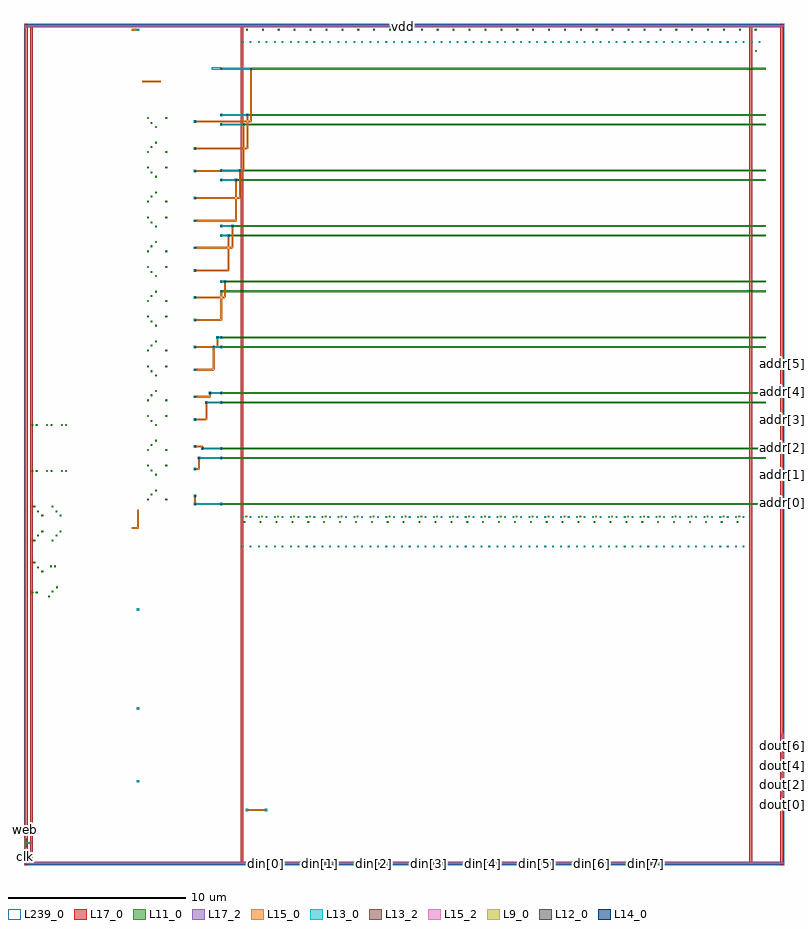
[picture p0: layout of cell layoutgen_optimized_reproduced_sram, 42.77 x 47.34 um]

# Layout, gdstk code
import gdstk
lib = gdstk.Library(unit=1e-6, precision=5e-10)
def R(c, l, rs):  # rectangles x0, y0, x1, y1
    for r in rs: c.add(gdstk.rectangle(r[:2], r[2:], *l))
def A(c, l, x, y, w, h, nx, ny, dx, dy):  # array of equal rectangles
    R(c, l, [(x+i*dx, y+j*dy, x+i*dx+w, y+j*dy+h) for i in range(nx) for j in range(ny)])
L9_0 = (9, 0)
L11_0 = (11, 0)
L12_0 = (12, 0)
L13_0 = (13, 0)
L13_2 = (13, 2)
L14_0 = (14, 0)
L15_0 = (15, 0)
L15_2 = (15, 2)
L17_0 = (17, 0)
L17_2 = (17, 2)
L239_0 = (239, 0)

layoutgen_optimized_repr = lib.new_cell('layoutgen_optimized_reproduced_sram')
A(layoutgen_optimized_repr, L9_0, 12.465, 19.575, 0.09, 0.09, 32, 1, 0.895, 0)
A(layoutgen_optimized_repr, L11_0, 12.3725, 19.2675, 0.09, 0.09, 32, 1, 0.895, 0)
A(layoutgen_optimized_repr, L11_0, 12.5, 46.97, 0.09, 0.09, 33, 1, 0.895, 0)
R(layoutgen_optimized_repr, L11_0, [(1.3525,15.08,1.4425,15.17), (0.4375,15.29,0.5275,15.38), (0.67,15.29,0.76,15.38), (1.5675,15.36,1.6575,15.45), (1.805,15.5925,1.895,15.6825), (0.9825,16.475,1.0725,16.565), (0.745,16.7075,0.835,16.7975), (1.475,16.7775,1.565,16.8675), (1.7075,16.7775,1.7975,16.8675), (0.53,16.9875,0.62,17.0775), (0.53,18.2275,0.62,18.3175), (1.5675,18.2275,1.6575,18.3175), (0.745,18.5075,0.835,18.5975), (1.7825,18.5075,1.8725,18.5975), (0.9825,18.74,1.0725,18.83), (2.02,18.74,2.11,18.83), (0.9825,19.6225,1.0725,19.7125), (2.02,19.6225,2.11,19.7125), (0.745,19.855,0.835,19.945), (1.7825,19.855,1.8725,19.945), (0.53,20.135,0.62,20.225), (1.5675,20.135,1.6575,20.225), (11.0325,20.2475,11.1675,20.3825), (11.1,20.27,41.74,20.36), (6.925,20.53,7.015,20.62), (7.9625,20.53,8.0525,20.62), (9.5625,20.7025,9.6975,20.8375), (9.585,20.725,9.675,20.815), (7.14,20.81,7.23,20.9), (7.3775,21.0425,7.4675,21.1325), (7.3775,21.925,7.4675,22.015), (0.4375,22.1375,0.5275,22.2275), (0.67,22.1375,0.76,22.2275), (1.26,22.1375,1.35,22.2275), (1.4925,22.1375,1.5825,22.2275), (2.0825,22.1375,2.1725,22.2275), (2.315,22.1375,2.405,22.2275), (7.14,22.1575,7.23,22.2475), (9.5625,22.22,9.6975,22.355), (9.585,22.2425,9.675,22.3325), (6.925,22.4375,7.015,22.5275), (7.9625,22.4375,8.0525,22.5275), (11.0325,22.8425,11.1675,22.9775), (11.1,22.865,41.74,22.955), (6.925,23.325,7.015,23.415), (7.9625,23.325,8.0525,23.415), (11.0325,23.3775,11.1675,23.5125), (11.1,23.4,41.74,23.49), (9.5625,23.4975,9.6975,23.6325), (9.585,23.52,9.675,23.61), (7.14,23.605,7.23,23.695), (7.3775,23.8375,7.4675,23.9275), (7.3775,24.72,7.4675,24.81), (0.4375,24.73,0.5275,24.82), (0.67,24.73,0.76,24.82), (1.26,24.73,1.35,24.82), (1.4925,24.73,1.5825,24.82), (2.0825,24.73,2.1725,24.82), (2.315,24.73,2.405,24.82), (7.14,24.9525,7.23,25.0425), (9.5625,25.015,9.6975,25.15), (9.585,25.0375,9.675,25.1275), (6.925,25.2325,7.015,25.3225), (7.9625,25.2325,8.0525,25.3225), (11.0325,25.9725,11.1675,26.1075), (11.1,25.995,41.74,26.085), (6.925,26.12,7.015,26.21), (7.9625,26.12,8.0525,26.21), (9.5625,26.2925,9.6975,26.4275), (9.585,26.315,9.675,26.405), (7.14,26.4,7.23,26.49), (11.0325,26.5075,11.1675,26.6425), (11.1,26.53,41.74,26.62), (7.3775,26.6325,7.4675,26.7225), (7.3775,27.515,7.4675,27.605), (7.14,27.7475,7.23,27.8375), (9.5625,27.81,9.6975,27.945), (9.585,27.8325,9.675,27.9225), (6.925,28.0275,7.015,28.1175), (7.9625,28.0275,8.0525,28.1175), (6.925,28.915,7.015,29.005), (7.9625,28.915,8.0525,29.005), (9.5625,29.0875,9.6975,29.2225), (11.0325,29.1025,11.1675,29.2375), (9.585,29.11,9.675,29.2), (11.1,29.125,41.74,29.215), (7.14,29.195,7.23,29.285), (7.3775,29.4275,7.4675,29.5175), (11.0325,29.6375,11.1675,29.7725), (11.1,29.66,41.74,29.75), (7.3775,30.31,7.4675,30.4), (7.14,30.5425,7.23,30.6325), (9.5625,30.605,9.6975,30.74), (9.585,30.6275,9.675,30.7175), (6.925,30.8225,7.015,30.9125), (7.9625,30.8225,8.0525,30.9125), (6.925,31.71,7.015,31.8), (7.9625,31.71,8.0525,31.8), (9.5625,31.8825,9.6975,32.0175), (9.585,31.905,9.675,31.995), (7.14,31.99,7.23,32.08), (7.3775,32.2225,7.4675,32.3125), (11.0325,32.2325,11.1675,32.3675), (11.1,32.255,41.74,32.345), (11.0325,32.7675,11.1675,32.9025), (11.1,32.79,41.74,32.88), (7.3775,33.105,7.4675,33.195), (7.14,33.3375,7.23,33.4275), (9.5625,33.4,9.6975,33.535), (9.585,33.4225,9.675,33.5125), (6.925,33.6175,7.015,33.7075), (7.9625,33.6175,8.0525,33.7075), (6.925,34.505,7.015,34.595), (7.9625,34.505,8.0525,34.595), (9.5625,34.6775,9.6975,34.8125), (9.585,34.7,9.675,34.79), (7.14,34.785,7.23,34.875), (7.3775,35.0175,7.4675,35.1075), (11.0325,35.3625,11.1675,35.4975), (11.1,35.385,41.74,35.475), (11.0325,35.8975,11.1675,36.0325), (7.3775,35.9,7.4675,35.99), (11.1,35.92,41.74,36.01), (7.14,36.1325,7.23,36.2225), (9.5625,36.195,9.6975,36.33), (9.585,36.2175,9.675,36.3075), (6.925,36.4125,7.015,36.5025), (7.9625,36.4125,8.0525,36.5025), (6.925,37.3,7.015,37.39), (7.9625,37.3,8.0525,37.39), (9.5625,37.4725,9.6975,37.6075), (9.585,37.495,9.675,37.585), (7.14,37.58,7.23,37.67), (7.3775,37.8125,7.4675,37.9025), (11.0325,38.4925,11.1675,38.6275), (11.1,38.515,41.74,38.605), (7.3775,38.695,7.4675,38.785), (7.14,38.9275,7.23,39.0175), (9.5625,38.99,9.6975,39.125), (9.585,39.0125,9.675,39.1025), (11.0325,39.0275,11.1675,39.1625), (11.1,39.05,41.74,39.14), (6.925,39.2075,7.015,39.2975), (7.9625,39.2075,8.0525,39.2975), (6.925,40.095,7.015,40.185), (7.9625,40.095,8.0525,40.185), (9.5625,40.2675,9.6975,40.4025), (9.585,40.29,9.675,40.38), (7.14,40.375,7.23,40.465), (7.3775,40.6075,7.4675,40.6975), (7.3775,41.49,7.4675,41.58), (11.0325,41.6225,11.1675,41.7575), (11.1,41.645,41.74,41.735), (7.14,41.7225,7.23,41.8125), (9.5625,41.785,9.6975,41.92), (9.585,41.8075,9.675,41.8975), (6.925,42.0025,7.015,42.0925), (7.9625,42.0025,8.0525,42.0925), (11.0325,42.1575,11.1675,42.2925), (11.1,42.18,41.74,42.27), (11.0325,44.7525,11.1675,44.8875), (11.1,44.775,41.74,44.865), (41.16,45.7725,41.25,45.8625)])
R(layoutgen_optimized_repr, L12_0, [(11.0675,20.2825,11.1325,20.3475), (9.5975,20.7375,9.6625,20.8025), (9.5975,22.255,9.6625,22.32), (11.0675,22.8775,11.1325,22.9425), (11.0675,23.4125,11.1325,23.4775), (9.5975,23.5325,9.6625,23.5975), (9.5975,25.05,9.6625,25.115), (11.0675,26.0075,11.1325,26.0725), (9.5975,26.3275,9.6625,26.3925), (11.0675,26.5425,11.1325,26.6075), (9.5975,27.845,9.6625,27.91), (9.5975,29.1225,9.6625,29.1875), (11.0675,29.1375,11.1325,29.2025), (11.0675,29.6725,11.1325,29.7375), (9.5975,30.64,9.6625,30.705), (9.5975,31.9175,9.6625,31.9825), (11.0675,32.2675,11.1325,32.3325), (11.0675,32.8025,11.1325,32.8675), (9.5975,33.435,9.6625,33.5), (9.5975,34.7125,9.6625,34.7775), (11.0675,35.3975,11.1325,35.4625), (11.0675,35.9325,11.1325,35.9975), (9.5975,36.23,9.6625,36.295), (9.5975,37.5075,9.6625,37.5725), (11.0675,38.5275,11.1325,38.5925), (9.5975,39.025,9.6625,39.09), (11.0675,39.0625,11.1325,39.1275), (9.5975,40.3025,9.6625,40.3675), (11.0675,41.6575,11.1325,41.7225), (9.5975,41.82,9.6625,41.885), (11.0675,42.1925,11.1325,42.2575), (11.0675,44.7875,11.1325,44.8525)])
A(layoutgen_optimized_repr, L13_0, 13.37, 0, 0.5, 0.16, 8, 1, 3.06, 0)
A(layoutgen_optimized_repr, L13_0, 0, 0.2425, 0.16, 0.5, 1, 3, 0, 0.75)
A(layoutgen_optimized_repr, L13_0, 0.16, 0.4575, 0.1825, 0.07, 1, 3, 0, 0.75)
R(layoutgen_optimized_repr, L13_0, [(12.475,3.04,12.61,3.175), (13.5525,3.04,13.6875,3.175), (6.345,4.6525,6.48,4.7875), (6.345,8.7575,6.48,8.8925), (6.345,14.325,6.48,14.46), (12.2875,17.8975,12.3775,17.9875), (12.7125,17.8975,12.8025,17.9875), (13.1825,17.8975,13.2725,17.9875), (13.6075,17.8975,13.6975,17.9875), (14.0775,17.8975,14.1675,17.9875), (14.5025,17.8975,14.5925,17.9875), (14.9725,17.8975,15.0625,17.9875), (15.3975,17.8975,15.4875,17.9875), (15.8675,17.8975,15.9575,17.9875), (16.2925,17.8975,16.3825,17.9875), (16.7625,17.8975,16.8525,17.9875), (17.1875,17.8975,17.2775,17.9875), (17.6575,17.8975,17.7475,17.9875), (18.0825,17.8975,18.1725,17.9875), (18.5525,17.8975,18.6425,17.9875), (18.9775,17.8975,19.0675,17.9875), (19.4475,17.8975,19.5375,17.9875), (19.8725,17.8975,19.9625,17.9875), (20.3425,17.8975,20.4325,17.9875), (20.7675,17.8975,20.8575,17.9875), (21.2375,17.8975,21.3275,17.9875), (21.6625,17.8975,21.7525,17.9875), (22.1325,17.8975,22.2225,17.9875), (22.5575,17.8975,22.6475,17.9875), (23.0275,17.8975,23.1175,17.9875), (23.4525,17.8975,23.5425,17.9875), (23.9225,17.8975,24.0125,17.9875), (24.3475,17.8975,24.4375,17.9875), (24.8175,17.8975,24.9075,17.9875), (25.2425,17.8975,25.3325,17.9875), (25.7125,17.8975,25.8025,17.9875), (26.1375,17.8975,26.2275,17.9875), (26.6075,17.8975,26.6975,17.9875), (27.0325,17.8975,27.1225,17.9875), (27.5025,17.8975,27.5925,17.9875), (27.9275,17.8975,28.0175,17.9875), (28.3975,17.8975,28.4875,17.9875), (28.8225,17.8975,28.9125,17.9875), (29.2925,17.8975,29.3825,17.9875), (29.7175,17.8975,29.8075,17.9875), (30.1875,17.8975,30.2775,17.9875), (30.6125,17.8975,30.7025,17.9875), (31.0825,17.8975,31.1725,17.9875), (31.5075,17.8975,31.5975,17.9875), (31.9775,17.8975,32.0675,17.9875), (32.4025,17.8975,32.4925,17.9875), (32.8725,17.8975,32.9625,17.9875), (33.2975,17.8975,33.3875,17.9875), (33.7675,17.8975,33.8575,17.9875), (34.1925,17.8975,34.2825,17.9875), (34.6625,17.8975,34.7525,17.9875), (35.0875,17.8975,35.1775,17.9875), (35.5575,17.8975,35.6475,17.9875), (35.9825,17.8975,36.0725,17.9875), (36.4525,17.8975,36.5425,17.9875), (36.8775,17.8975,36.9675,17.9875), (37.3475,17.8975,37.4375,17.9875), (37.7725,17.8975,37.8625,17.9875), (38.2425,17.8975,38.3325,17.9875), (38.6675,17.8975,38.7575,17.9875), (39.1375,17.8975,39.2275,17.9875), (39.5625,17.8975,39.6525,17.9875), (40.0325,17.8975,40.1225,17.9875), (40.4575,17.8975,40.5475,17.9875), (12.2875,19.5575,12.3775,19.6475), (12.7125,19.5575,12.8025,19.6475), (13.1825,19.5575,13.2725,19.6475), (13.6075,19.5575,13.6975,19.6475), (14.0775,19.5575,14.1675,19.6475), (14.5025,19.5575,14.5925,19.6475), (14.9725,19.5575,15.0625,19.6475), (15.3975,19.5575,15.4875,19.6475), (15.8675,19.5575,15.9575,19.6475), (16.2925,19.5575,16.3825,19.6475), (16.7625,19.5575,16.8525,19.6475), (17.1875,19.5575,17.2775,19.6475), (17.6575,19.5575,17.7475,19.6475), (18.0825,19.5575,18.1725,19.6475), (18.5525,19.5575,18.6425,19.6475), (18.9775,19.5575,19.0675,19.6475), (19.4475,19.5575,19.5375,19.6475), (19.8725,19.5575,19.9625,19.6475), (20.3425,19.5575,20.4325,19.6475), (20.7675,19.5575,20.8575,19.6475), (21.2375,19.5575,21.3275,19.6475), (21.6625,19.5575,21.7525,19.6475), (22.1325,19.5575,22.2225,19.6475), (22.5575,19.5575,22.6475,19.6475), (23.0275,19.5575,23.1175,19.6475), (23.4525,19.5575,23.5425,19.6475), (23.9225,19.5575,24.0125,19.6475), (24.3475,19.5575,24.4375,19.6475), (24.8175,19.5575,24.9075,19.6475), (25.2425,19.5575,25.3325,19.6475), (25.7125,19.5575,25.8025,19.6475), (26.1375,19.5575,26.2275,19.6475), (26.6075,19.5575,26.6975,19.6475), (27.0325,19.5575,27.1225,19.6475), (27.5025,19.5575,27.5925,19.6475), (27.9275,19.5575,28.0175,19.6475), (28.3975,19.5575,28.4875,19.6475), (28.8225,19.5575,28.9125,19.6475), (29.2925,19.5575,29.3825,19.6475), (29.7175,19.5575,29.8075,19.6475), (30.1875,19.5575,30.2775,19.6475), (30.6125,19.5575,30.7025,19.6475), (31.0825,19.5575,31.1725,19.6475), (31.5075,19.5575,31.5975,19.6475), (31.9775,19.5575,32.0675,19.6475), (32.4025,19.5575,32.4925,19.6475), (32.8725,19.5575,32.9625,19.6475), (33.2975,19.5575,33.3875,19.6475), (33.7675,19.5575,33.8575,19.6475), (34.1925,19.5575,34.2825,19.6475), (34.6625,19.5575,34.7525,19.6475), (35.0875,19.5575,35.1775,19.6475), (35.5575,19.5575,35.6475,19.6475), (35.9825,19.5575,36.0725,19.6475), (36.4525,19.5575,36.5425,19.6475), (36.8775,19.5575,36.9675,19.6475), (37.3475,19.5575,37.4375,19.6475), (37.7725,19.5575,37.8625,19.6475), (38.2425,19.5575,38.3325,19.6475), (38.6675,19.5575,38.7575,19.6475), (39.1375,19.5575,39.2275,19.6475), (39.5625,19.5575,39.6525,19.6475), (40.0325,19.5575,40.1225,19.6475), (40.4575,19.5575,40.5475,19.6475), (9.5625,20.2475,9.6975,20.3825), (11.0325,20.2475,11.1675,20.3825), (9.63,20.27,11.1,20.36), (9.5625,20.7025,9.6975,20.8375), (9.5625,22.22,9.6975,22.355), (9.7725,22.8425,9.9075,22.9775), (11.0325,22.8425,11.1675,22.9775), (9.84,22.865,11.1,22.955), (9.9825,23.3775,10.1175,23.5125), (11.0325,23.3775,11.1675,23.5125), (10.05,23.4,11.1,23.49), (9.5625,23.4975,9.6975,23.6325), (9.5625,25.015,9.6975,25.15), (10.1925,25.9725,10.3275,26.1075), (11.0325,25.9725,11.1675,26.1075), (10.26,25.995,11.1,26.085), (9.5625,26.2925,9.6975,26.4275), (10.4025,26.5075,10.5375,26.6425), (11.0325,26.5075,11.1675,26.6425), (10.47,26.53,11.1,26.62), (9.5625,27.81,9.6975,27.945), (9.5625,29.0875,9.6975,29.2225), (10.6125,29.1025,10.7475,29.2375), (11.0325,29.1025,11.1675,29.2375), (10.68,29.125,11.1,29.215), (10.8225,29.6375,10.9575,29.7725), (11.0325,29.6375,11.1675,29.7725), (10.89,29.66,11.1,29.75), (9.5625,30.605,9.6975,30.74), (9.5625,31.8825,9.6975,32.0175), (11.0325,32.2325,11.1675,32.3675), (11.0325,32.7675,11.1675,32.9025), (11.2425,32.7675,11.3775,32.9025), (11.1,32.79,11.31,32.88), (9.5625,33.4,9.6975,33.535), (9.5625,34.6775,9.6975,34.8125), (11.0325,35.3625,11.1675,35.4975), (11.4525,35.3625,11.5875,35.4975), (11.1,35.385,11.52,35.475), (11.0325,35.8975,11.1675,36.0325), (11.6625,35.8975,11.7975,36.0325), (11.1,35.92,11.73,36.01), (9.5625,36.195,9.6975,36.33), (9.5625,37.4725,9.6975,37.6075), (11.0325,38.4925,11.1675,38.6275), (11.8725,38.4925,12.0075,38.6275), (11.1,38.515,11.94,38.605), (9.5625,38.99,9.6975,39.125), (11.0325,39.0275,11.1675,39.1625), (12.0825,39.0275,12.2175,39.1625), (11.1,39.05,12.15,39.14), (9.5625,40.2675,9.6975,40.4025), (11.0325,41.6225,11.1675,41.7575), (12.2925,41.6225,12.4275,41.7575), (11.1,41.645,12.36,41.735), (9.5625,41.785,9.6975,41.92), (11.0325,42.1575,11.1675,42.2925), (12.5025,42.1575,12.6375,42.2925), (11.1,42.18,12.57,42.27), (10.56,44.75,11.1,44.89), (11.0325,44.7525,11.1675,44.8875), (12.7125,44.7525,12.8475,44.8875), (11.1,44.775,12.78,44.865), (12.2875,46.2875,12.3775,46.3775), (12.7125,46.2875,12.8025,46.3775), (13.1825,46.2875,13.2725,46.3775), (13.6075,46.2875,13.6975,46.3775), (14.0775,46.2875,14.1675,46.3775), (14.5025,46.2875,14.5925,46.3775), (14.9725,46.2875,15.0625,46.3775), (15.3975,46.2875,15.4875,46.3775), (15.8675,46.2875,15.9575,46.3775), (16.2925,46.2875,16.3825,46.3775), (16.7625,46.2875,16.8525,46.3775), (17.1875,46.2875,17.2775,46.3775), (17.6575,46.2875,17.7475,46.3775), (18.0825,46.2875,18.1725,46.3775), (18.5525,46.2875,18.6425,46.3775), (18.9775,46.2875,19.0675,46.3775), (19.4475,46.2875,19.5375,46.3775), (19.8725,46.2875,19.9625,46.3775), (20.3425,46.2875,20.4325,46.3775), (20.7675,46.2875,20.8575,46.3775), (21.2375,46.2875,21.3275,46.3775), (21.6625,46.2875,21.7525,46.3775), (22.1325,46.2875,22.2225,46.3775), (22.5575,46.2875,22.6475,46.3775), (23.0275,46.2875,23.1175,46.3775), (23.4525,46.2875,23.5425,46.3775), (23.9225,46.2875,24.0125,46.3775), (24.3475,46.2875,24.4375,46.3775), (24.8175,46.2875,24.9075,46.3775), (25.2425,46.2875,25.3325,46.3775), (25.7125,46.2875,25.8025,46.3775), (26.1375,46.2875,26.2275,46.3775), (26.6075,46.2875,26.6975,46.3775), (27.0325,46.2875,27.1225,46.3775), (27.5025,46.2875,27.5925,46.3775), (27.9275,46.2875,28.0175,46.3775), (28.3975,46.2875,28.4875,46.3775), (28.8225,46.2875,28.9125,46.3775), (29.2925,46.2875,29.3825,46.3775), (29.7175,46.2875,29.8075,46.3775), (30.1875,46.2875,30.2775,46.3775), (30.6125,46.2875,30.7025,46.3775), (31.0825,46.2875,31.1725,46.3775), (31.5075,46.2875,31.5975,46.3775), (31.9775,46.2875,32.0675,46.3775), (32.4025,46.2875,32.4925,46.3775), (32.8725,46.2875,32.9625,46.3775), (33.2975,46.2875,33.3875,46.3775), (33.7675,46.2875,33.8575,46.3775), (34.1925,46.2875,34.2825,46.3775), (34.6625,46.2875,34.7525,46.3775), (35.0875,46.2875,35.1775,46.3775), (35.5575,46.2875,35.6475,46.3775), (35.9825,46.2875,36.0725,46.3775), (36.4525,46.2875,36.5425,46.3775), (36.8775,46.2875,36.9675,46.3775), (37.3475,46.2875,37.4375,46.3775), (37.7725,46.2875,37.8625,46.3775), (38.2425,46.2875,38.3325,46.3775), (38.6675,46.2875,38.7575,46.3775), (39.1375,46.2875,39.2275,46.3775), (39.5625,46.2875,39.6525,46.3775), (40.0325,46.2875,40.1225,46.3775), (40.4575,46.2875,40.5475,46.3775), (40.9275,46.2875,41.0175,46.3775), (41.3525,46.2875,41.4425,46.3775), (6.345,46.9475,6.48,47.0825)])
A(layoutgen_optimized_repr, L13_2, 13.37, 0, 0.5, 0.16, 8, 1, 3.06, 0)
A(layoutgen_optimized_repr, L13_2, 0, 0.2425, 0.16, 0.5, 1, 3, 0, 0.75)
R(layoutgen_optimized_repr, L14_0, [(9.5975,20.2825,9.6625,20.3475), (9.5975,20.7375,9.6625,20.8025), (9.5975,22.255,9.6625,22.32), (9.8075,22.8775,9.8725,22.9425), (10.0175,23.4125,10.0825,23.4775), (9.5975,23.5325,9.6625,23.5975), (9.5975,25.05,9.6625,25.115), (10.2275,26.0075,10.2925,26.0725), (9.5975,26.3275,9.6625,26.3925), (10.4375,26.5425,10.5025,26.6075), (9.5975,27.845,9.6625,27.91), (9.5975,29.1225,9.6625,29.1875), (10.6475,29.1375,10.7125,29.2025), (10.8575,29.6725,10.9225,29.7375), (9.5975,30.64,9.6625,30.705), (9.5975,31.9175,9.6625,31.9825), (11.0675,32.2675,11.1325,32.3325), (11.2775,32.8025,11.3425,32.8675), (9.5975,33.435,9.6625,33.5), (9.5975,34.7125,9.6625,34.7775), (11.4875,35.3975,11.5525,35.4625), (11.6975,35.9325,11.7625,35.9975), (9.5975,36.23,9.6625,36.295), (9.5975,37.5075,9.6625,37.5725), (11.9075,38.5275,11.9725,38.5925), (9.5975,39.025,9.6625,39.09), (12.1175,39.0625,12.1825,39.1275), (9.5975,40.3025,9.6625,40.3675), (12.3275,41.6575,12.3925,41.7225), (9.5975,41.82,9.6625,41.885), (12.5375,42.1925,12.6025,42.2575), (12.7475,44.7875,12.8125,44.8525)])
A(layoutgen_optimized_repr, L15_0, 42.6125, 3.2875, 0.16, 0.25, 1, 8, 0, 0.55)
A(layoutgen_optimized_repr, L15_0, 42.6125, 20.1475, 0.16, 0.5, 1, 6, 0, 1.565)
R(layoutgen_optimized_repr, L15_0, [(12.475,3.04,12.61,3.175), (13.5525,3.04,13.6875,3.175), (12.5425,3.0625,13.62,3.1525), (6.345,4.6525,6.48,4.7875), (6.345,8.7575,6.48,8.8925), (6.345,14.325,6.48,14.46), (6.0625,18.925,6.4575,19.015), (6.3675,18.925,6.4575,19.9925), (9.5625,20.2475,9.6975,20.3825), (9.585,20.315,9.675,20.77), (9.5625,20.7025,9.6975,20.8375), (9.5625,22.22,9.6975,22.355), (9.63,22.2425,9.84,22.3325), (9.795,22.2875,9.885,22.91), (9.7725,22.8425,9.9075,22.9775), (9.9825,23.3775,10.1175,23.5125), (10.005,23.445,10.095,23.565), (9.5625,23.4975,9.6975,23.6325), (9.63,23.52,10.05,23.61), (9.5625,25.015,9.6975,25.15), (9.63,25.0375,10.26,25.1275), (10.215,25.0825,10.305,26.04), (10.1925,25.9725,10.3275,26.1075), (9.5625,26.2925,9.6975,26.4275), (9.63,26.315,10.47,26.405), (10.425,26.36,10.515,26.575), (10.4025,26.5075,10.5375,26.6425), (9.5625,27.81,9.6975,27.945), (9.63,27.8325,10.68,27.9225), (10.635,27.8775,10.725,29.17), (9.5625,29.0875,9.6975,29.2225), (10.6125,29.1025,10.7475,29.2375), (9.63,29.11,10.89,29.2), (10.845,29.155,10.935,29.705), (10.8225,29.6375,10.9575,29.7725), (9.5625,30.605,9.6975,30.74), (9.63,30.6275,11.1,30.7175), (11.055,30.6725,11.145,32.3), (9.5625,31.8825,9.6975,32.0175), (9.63,31.905,11.31,31.995), (11.265,31.95,11.355,32.835), (11.0325,32.2325,11.1675,32.3675), (11.2425,32.7675,11.3775,32.9025), (9.5625,33.4,9.6975,33.535), (9.63,33.4225,11.52,33.5125), (11.475,33.4675,11.565,35.43), (9.5625,34.6775,9.6975,34.8125), (9.63,34.7,11.73,34.79), (11.685,34.745,11.775,35.965), (11.4525,35.3625,11.5875,35.4975), (11.6625,35.8975,11.7975,36.0325), (9.5625,36.195,9.6975,36.33), (9.63,36.2175,11.94,36.3075), (11.895,36.2625,11.985,38.56), (9.5625,37.4725,9.6975,37.6075), (9.63,37.495,12.15,37.585), (12.105,37.54,12.195,39.095), (11.8725,38.4925,12.0075,38.6275), (9.5625,38.99,9.6975,39.125), (9.63,39.0125,12.36,39.1025), (12.0825,39.0275,12.2175,39.1625), (12.315,39.0575,12.405,41.69), (9.5625,40.2675,9.6975,40.4025), (9.63,40.29,12.57,40.38), (12.525,40.335,12.615,42.225), (12.2925,41.6225,12.4275,41.7575), (9.5625,41.785,9.6975,41.92), (9.63,41.8075,12.78,41.8975), (12.735,41.8525,12.825,44.82), (12.5025,42.1575,12.6375,42.2925), (6.6575,44.055,7.695,44.145), (12.7125,44.7525,12.8475,44.8875), (6.345,46.9475,6.48,47.0825), (6.0625,46.97,6.4125,47.06)])
A(layoutgen_optimized_repr, L15_2, 42.6125, 3.2875, 0.16, 0.25, 1, 8, 0, 0.55)
A(layoutgen_optimized_repr, L15_2, 42.6125, 20.1475, 0.16, 0.5, 1, 6, 0, 1.565)
R(layoutgen_optimized_repr, L17_0, [(0.05,0,0.2,47.345), (42.5725,0,42.7225,47.345), (0,0.05,42.7725,0.2), (0.3425,0.2,0.5025,47.145), (12.19,0.2,12.35,47.145), (40.83,0.2,40.99,47.145), (0,47.145,42.7725,47.295)])
R(layoutgen_optimized_repr, L17_2, [(0,0.05,42.7725,0.2), (0,47.145,42.7725,47.295)])
R(layoutgen_optimized_repr, L239_0, [(0,0,42.7725,47.345)])
layoutgen_optimized_repr.add(gdstk.Label('clk', (0.08,0.4925), layer=13, texttype=1))
layoutgen_optimized_repr.add(gdstk.Label('csb', (0.08,1.2425), layer=13, texttype=1))
layoutgen_optimized_repr.add(gdstk.Label('web', (0.08,1.9925), layer=13, texttype=1))
layoutgen_optimized_repr.add(gdstk.Label('addr[0]', (42.6925,20.3975), layer=15, texttype=1))
layoutgen_optimized_repr.add(gdstk.Label('addr[1]', (42.6925,21.9625), layer=15, texttype=1))
layoutgen_optimized_repr.add(gdstk.Label('addr[2]', (42.6925,23.5275), layer=15, texttype=1))
layoutgen_optimized_repr.add(gdstk.Label('addr[3]', (42.6925,25.0925), layer=15, texttype=1))
layoutgen_optimized_repr.add(gdstk.Label('addr[4]', (42.6925,26.6575), layer=15, texttype=1))
layoutgen_optimized_repr.add(gdstk.Label('addr[5]', (42.6925,28.2225), layer=15, texttype=1))
layoutgen_optimized_repr.add(gdstk.Label('din[0]', (13.62,0.08), layer=13, texttype=1))
layoutgen_optimized_repr.add(gdstk.Label('dout[0]', (42.6925,3.4125), layer=15, texttype=1))
layoutgen_optimized_repr.add(gdstk.Label('din[1]', (16.68,0.08), layer=13, texttype=1))
layoutgen_optimized_repr.add(gdstk.Label('dout[1]', (42.6925,3.9625), layer=15, texttype=1))
layoutgen_optimized_repr.add(gdstk.Label('din[2]', (19.74,0.08), layer=13, texttype=1))
layoutgen_optimized_repr.add(gdstk.Label('dout[2]', (42.6925,4.5125), layer=15, texttype=1))
layoutgen_optimized_repr.add(gdstk.Label('din[3]', (22.8,0.08), layer=13, texttype=1))
layoutgen_optimized_repr.add(gdstk.Label('dout[3]', (42.6925,5.0625), layer=15, texttype=1))
layoutgen_optimized_repr.add(gdstk.Label('din[4]', (25.86,0.08), layer=13, texttype=1))
layoutgen_optimized_repr.add(gdstk.Label('dout[4]', (42.6925,5.6125), layer=15, texttype=1))
layoutgen_optimized_repr.add(gdstk.Label('din[5]', (28.92,0.08), layer=13, texttype=1))
layoutgen_optimized_repr.add(gdstk.Label('dout[5]', (42.6925,6.1625), layer=15, texttype=1))
layoutgen_optimized_repr.add(gdstk.Label('din[6]', (31.98,0.08), layer=13, texttype=1))
layoutgen_optimized_repr.add(gdstk.Label('dout[6]', (42.6925,6.7125), layer=15, texttype=1))
layoutgen_optimized_repr.add(gdstk.Label('din[7]', (35.04,0.08), layer=13, texttype=1))
layoutgen_optimized_repr.add(gdstk.Label('dout[7]', (42.6925,7.2625), layer=15, texttype=1))
layoutgen_optimized_repr.add(gdstk.Label('vdd', (21.385,47.22), layer=17, texttype=1))
layoutgen_optimized_repr.add(gdstk.Label('gnd', (21.385,0.125), layer=17, texttype=1))

lib.write_gds('layoutgen_optimized_reproduced_sram.gds')
